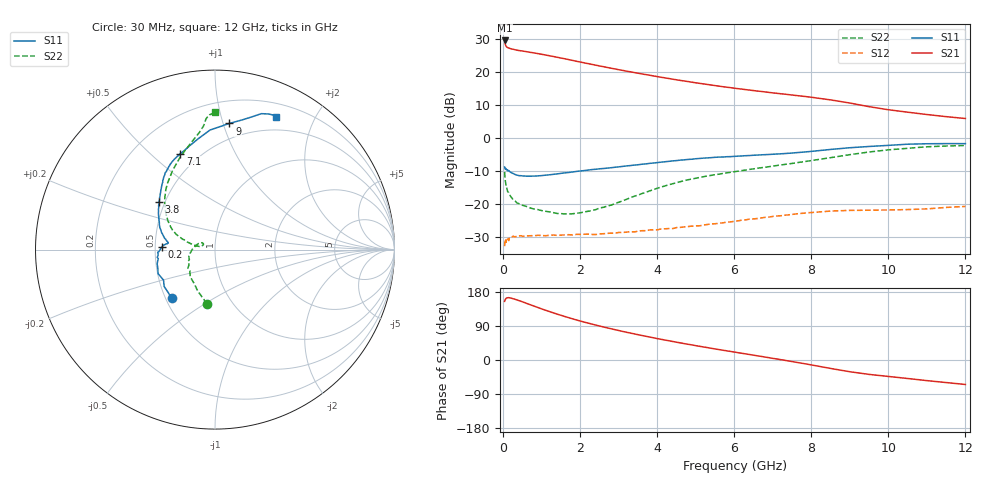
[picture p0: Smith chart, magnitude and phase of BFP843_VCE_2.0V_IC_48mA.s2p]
! Infineon Technologies  Discrete & RF Semiconductors
! BFP843
! VCE =  2.0 V,  IC =  48 mA
! Common Emitter S-Parameters:  Aug 2013
# GHz  S  MA  R  50
!  f  S11  S21  S12  S22
! GHz  MAG  ANG  MAG  ANG  MAG  ANG  MAG  ANG
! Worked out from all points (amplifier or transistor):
!   103 points, 30 MHz to 12 GHz, reference 50 ohm
!   highest |S21| = 29.4 dB at 30 MHz (marker M1)
!   |S21| within 3 dB of that: start of sweep to 380.7 MHz
!   unconditionally stable (mu >= 1): 65.53 MHz to 77.94 MHz; 83.57 MHz to 10.14 GHz
!   at 400 MHz: K = 1.04, MAG = 26.8 dB, |S12| = -29.7 dB
!   at 3.7 GHz: K = 1.37, MAG = 20.0 dB, |S12| = -28.1 dB
!   at 12 GHz: K = 0.82, MSG = 13.3 dB, |S12| = -20.8 dB
!   S11 on the Smith chart (normalised r, x): 30 MHz: 0.54, -0.34; 200 MHz: 0.54, +0.01; 3.8 GHz: 0.46, +0.30; 7.1 GHz: 0.40, +0.63; 9 GHz: 0.37, +1.05; 12 GHz: 0.34, +1.51
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0.03  0.3617 -131.7  29.6 154.7  0.023 28.6  0.3046 -98.5
0.04  0.3498 -144.1  26.98 157.0  0.0269 24.4  0.2504 -112.5
0.05  0.3334 -149.3  25.66 160.3  0.0298 29.5  0.2212 -121.8
0.07  0.3343 -162.3  24.06 162.7  0.0263 16.1  0.183 -139.9
0.1  0.3201 -170.9  23.3 164.2  0.0292 13.0  0.1623 -156.8
0.13  0.3178 -175.6  22.89 164.6  0.0286 9.8  0.1499 -165.9
0.2  0.2975 177.6  22.08 163.3  0.0306 8.3  0.1268 179.4
0.7  0.263 172.0  19.56 145.7  0.0331 6.0  0.0869 154.4
1.1  0.2724 169.9  17.82 131.1  0.0331 6.9  0.0774 152.1
1.6  0.2951 165.6  15.62 114.6  0.0341 8.4  0.0706 156.7
2.1  0.3197 160.4  13.57 99.9  0.0348 10.9  0.0758 164.3
2.5  0.34 155.8  12.17 89.6  0.0352 13.6  0.087 168.1
2.9  0.3587 150.8  10.98 80.0  0.0362 14.2  0.1016 169.1
3.8  0.4106 139.3  8.817 60.5  0.0405 17.0  0.1576 164.9
4.1  0.4286 135.6  8.217 54.5  0.0421 17.3  0.1803 162.3
5  0.4827 127.1  6.773 37.8  0.0465 19.3  0.245 156.9
6.1  0.528 119.3  5.522 19.2  0.0556 18.4  0.3134 147.5
7.1  0.5684 109.8  4.705 2.7  0.0657 14.4  0.3809 137.3
8.5  0.6667 92.4  3.738 -22.3  0.078 3.3  0.5009 118.1
9  0.7075 83.5  3.352 -31.0  0.0799 -1.5  0.5562 109.9
10.5  0.8001 71.2  2.437 -48.8  0.0822 -9.7  0.6936 95.2
12  0.8158 65.3  1.957 -64.6  0.0917 -17.1  0.7653 89.9
